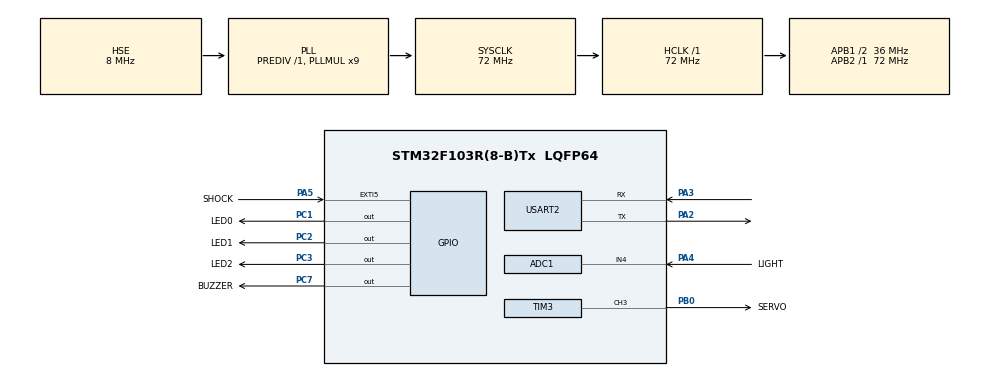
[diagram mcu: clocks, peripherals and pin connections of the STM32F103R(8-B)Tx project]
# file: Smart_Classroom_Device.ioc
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ADC1.Channel-0\#ChannelRegularConversion=ADC_CHANNEL_4
ADC1.NbrOfConversionFlag=1
ADC1.Rank-0\#ChannelRegularConversion=1
ADC1.SamplingTime-0\#ChannelRegularConversion=ADC_SAMPLETIME_1CYCLE_5
ADC1.master=1
Mcu.Family=STM32F1
Mcu.Name=STM32F103R(8-B)Tx
Mcu.Package=LQFP64
NVIC.EXTI9_5_IRQn=true\:0\:0\:false\:false\:true\:true\:true\:true
NVIC.PriorityGroup=NVIC_PRIORITYGROUP_4
NVIC.USART2_IRQn=true\:0\:0\:false\:false\:true\:true\:true\:true
PA2.Mode=Asynchronous
PA2.Signal=USART2_TX
PA3.Mode=Asynchronous
PA3.Signal=USART2_RX
PA4.GPIO_Label=LIGHT
PA4.Signal=ADCx_IN4
PA5.GPIO_Label=SHOCK
PA5.GPIO_ModeDefaultEXTI=GPIO_MODE_IT_FALLING
PA5.GPIO_PuPd=GPIO_PULLUP
PA5.Signal=GPXTI5
PB0.GPIO_Label=SERVO
PB0.Signal=S_TIM3_CH3
PC1.GPIO_Label=LED0
PC1.Signal=GPIO_Output
PC2.GPIO_Label=LED1
PC2.Signal=GPIO_Output
PC3.GPIO_Label=LED2
PC3.Signal=GPIO_Output
PC7.GPIO_Label=BUZZER
PC7.Signal=GPIO_Output
PD0-OSC_IN.Mode=HSE-External-Oscillator
PD0-OSC_IN.Signal=RCC_OSC_IN
PD1-OSC_OUT.Mode=HSE-External-Oscillator
PD1-OSC_OUT.Signal=RCC_OSC_OUT
ProjectManager.HeapSize=0x200
ProjectManager.StackSize=0x400
ProjectManager.TargetToolchain=MDK-ARM V5.32
RCC.ADCPresc=RCC_ADCPCLK2_DIV6
RCC.AHBFreq_Value=72000000
RCC.APB1CLKDivider=RCC_HCLK_DIV2
RCC.APB1Freq_Value=36000000
RCC.APB1TimFreq_Value=72000000
RCC.APB2Freq_Value=72000000
RCC.APB2TimFreq_Value=72000000
RCC.HCLKFreq_Value=72000000
RCC.PLLMUL=RCC_PLL_MUL9
RCC.PLLSourceVirtual=RCC_PLLSOURCE_HSE
RCC.SYSCLKFreq_VALUE=72000000
RCC.SYSCLKSource=RCC_SYSCLKSOURCE_PLLCLK
RCC.USBFreq_Value=72000000
SH.ADCx_IN4.0=ADC1_IN4,IN4
SH.S_TIM3_CH3.0=TIM3_CH3,PWM Generation3 CH3
TIM2.Prescaler=71
TIM3.Channel-PWM\ Generation3\ CH3=TIM_CHANNEL_3
TIM3.Period=20000
TIM3.Prescaler=71
TIM3.Pulse-PWM\ Generation3\ CH3=0
USART2.VirtualMode=VM_ASYNC
VP_SYS_VS_ND.Mode=No_Debug
VP_TIM2_VS_ClockSourceINT.Mode=Internal
VP_TIM3_VS_ClockSourceINT.Mode=Internal
board=custom

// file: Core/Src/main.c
/* USER CODE BEGIN Header */
/**
  ******************************************************************************
  * @file           : main.c
  * @brief          : Main program body
  ******************************************************************************
  * @attention
  *
  * Copyright (c) 2026 STMicroelectronics.
  * All rights reserved.
  *
  * This software is licensed under terms that can be found in the LICENSE file
  * in the root directory of this software component.
  * If no LICENSE file comes with this software, it is provided AS-IS.
  *
  ******************************************************************************
  */
/* USER CODE END Header */
#include "main.h"
#include "adc.h"
#include "tim.h"
#include "usart.h"
#include "gpio.h"

/* USER CODE BEGIN Includes */
#include <stdio.h>
#include <string.h>
#include "dht11.h"
#include "light.h"
#include "servo.h"
#include "buzzer.h"
#include "led.h"
/* USER CODE END Includes */

/* USER CODE BEGIN PM */
#define DEVICE_ID "huahua"   // 每套设备必须唯一
/* USER CODE END PM */

void SystemClock_Config(void);

int main(void)
{

  /* MCU Configuration--------------------------------------------------------*/

  /* Reset of all peripherals, Initializes the Flash interface and the Systick. */
  HAL_Init();

  /* Configure the system clock */
  SystemClock_Config();

  /* Initialize all configured peripherals */
  MX_GPIO_Init();
  MX_ADC1_Init();
  MX_TIM2_Init();
  MX_USART2_UART_Init();
  MX_TIM3_Init();
  /* USER CODE BEGIN 2 */
	DHT11_Init();
	Servo_Init();
	HAL_ADCEx_Calibration_Start(&hadc1);
  /* USER CODE END 2 */

  /* Infinite loop */
  /* USER CODE BEGIN WHILE */
	float temp = 0;
	uint8_t humi = 0;
	uint32_t light = 0;
	uint8_t shock = 0;
	uint8_t switch_state;
	char upload_data[100];

  while (1)
  {
		// 采集一次温湿度数据
		if(DHT11_Get(&temp, &humi) == 0)
		{
			// 如果采集温湿度数据成功，就上传云端
			sprintf(upload_data, "%s/sensor/dht11 %.1f_%u\n", DEVICE_ID, temp, humi);
			HAL_UART_Transmit(&huart2, (uint8_t*)upload_data, strlen(upload_data), 1000);
		}

		// 采集光照强度，并上传到云端
		light = Light_Get();
		sprintf(upload_data, "%s/sensor/light %u\n", DEVICE_ID, light);
		HAL_UART_Transmit(&huart2, (uint8_t*)upload_data, strlen(upload_data), 1000);

		// 采集震动传感器数据，并上传到云端
		shock = !HAL_GPIO_ReadPin(SHOCK_GPIO_Port, SHOCK_Pin);
		sprintf(upload_data, "%s/sensor/shock %u\n", DEVICE_ID, shock);
		HAL_UART_Transmit(&huart2, (uint8_t*)upload_data, strlen(upload_data), 1000);

		// 其他传感器可以在这里扩展
		// ......

		// 上传各种设备状态数据

		// 获取蜂鸣器状态并上传
		switch_state = HAL_GPIO_ReadPin(BUZZER_GPIO_Port, BUZZER_Pin);
		sprintf(upload_data, "%s/sensor/buzzer %u\n", DEVICE_ID, switch_state);
		HAL_UART_Transmit(&huart2, (uint8_t*)upload_data, strlen(upload_data), 1000);

		// 获取 LED 状态并上传
		switch_state = HAL_GPIO_ReadPin( LED_GPIO_Port, LED_ALL_PINS);
		sprintf(upload_data, "%s/sensor/led %u\n", DEVICE_ID, switch_state);
		HAL_UART_Transmit(&huart2, (uint8_t*)upload_data, strlen(upload_data), 1000);

		// 采集周期为 2S
		HAL_Delay(2000);

    /* USER CODE END WHILE */

  }
}

void SystemClock_Config(void)
{
  RCC_OscInitTypeDef RCC_OscInitStruct = {0};
  RCC_ClkInitTypeDef RCC_ClkInitStruct = {0};
  RCC_PeriphCLKInitTypeDef PeriphClkInit = {0};

  /** Initializes the RCC Oscillators according to the specified parameters
  * in the RCC_OscInitTypeDef structure.
  */
  RCC_OscInitStruct.OscillatorType = RCC_OSCILLATORTYPE_HSE;
  RCC_OscInitStruct.HSEState = RCC_HSE_ON;
  RCC_OscInitStruct.HSEPredivValue = RCC_HSE_PREDIV_DIV1;
  RCC_OscInitStruct.HSIState = RCC_HSI_ON;
  RCC_OscInitStruct.PLL.PLLState = RCC_PLL_ON;
  RCC_OscInitStruct.PLL.PLLSource = RCC_PLLSOURCE_HSE;
  RCC_OscInitStruct.PLL.PLLMUL = RCC_PLL_MUL9;
  if (HAL_RCC_OscConfig(&RCC_OscInitStruct) != HAL_OK)
  {
    Error_Handler();
  }

  /** Initializes the CPU, AHB and APB buses clocks
  */
  RCC_ClkInitStruct.ClockType = RCC_CLOCKTYPE_HCLK|RCC_CLOCKTYPE_SYSCLK
                              |RCC_CLOCKTYPE_PCLK1|RCC_CLOCKTYPE_PCLK2;
  RCC_ClkInitStruct.SYSCLKSource = RCC_SYSCLKSOURCE_PLLCLK;
  RCC_ClkInitStruct.AHBCLKDivider = RCC_SYSCLK_DIV1;
  RCC_ClkInitStruct.APB1CLKDivider = RCC_HCLK_DIV2;
  RCC_ClkInitStruct.APB2CLKDivider = RCC_HCLK_DIV1;

  if (HAL_RCC_ClockConfig(&RCC_ClkInitStruct, FLASH_LATENCY_2) != HAL_OK)
  {
    Error_Handler();
  }
  PeriphClkInit.PeriphClockSelection = RCC_PERIPHCLK_ADC;
  PeriphClkInit.AdcClockSelection = RCC_ADCPCLK2_DIV6;
  if (HAL_RCCEx_PeriphCLKConfig(&PeriphClkInit) != HAL_OK)
  {
    Error_Handler();
  }
}

void Error_Handler(void)
{
  __disable_irq();
  while (1)
  {
  }
}
